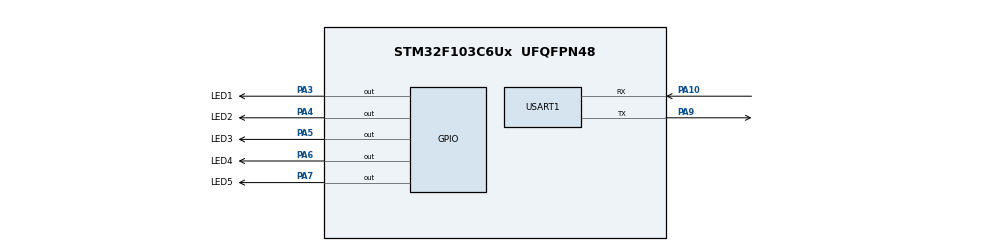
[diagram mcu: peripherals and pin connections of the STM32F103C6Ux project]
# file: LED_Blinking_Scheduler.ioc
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Mcu.Family=STM32F1
Mcu.Name=STM32F103C6Ux
Mcu.Package=UFQFPN48
NVIC.PriorityGroup=NVIC_PRIORITYGROUP_4
NVIC.TIM2_IRQn=true\:0\:0\:false\:false\:true\:true\:true
PA10.Mode=Asynchronous
PA10.Signal=USART1_RX
PA13.Mode=Serial_Wire
PA13.Signal=SYS_JTMS-SWDIO
PA14.Mode=Serial_Wire
PA14.Signal=SYS_JTCK-SWCLK
PA3.GPIO_Label=LED1
PA3.Signal=GPIO_Output
PA4.GPIO_Label=LED2
PA4.Signal=GPIO_Output
PA5.GPIO_Label=LED3
PA5.Signal=GPIO_Output
PA6.GPIO_Label=LED4
PA6.Signal=GPIO_Output
PA7.GPIO_Label=LED5
PA7.Signal=GPIO_Output
PA9.Mode=Asynchronous
PA9.Signal=USART1_TX
ProjectManager.HeapSize=0x200
ProjectManager.StackSize=0x400
ProjectManager.TargetToolchain=STM32CubeIDE
RCC.APB1Freq_Value=8000000
RCC.APB2Freq_Value=8000000
TIM2.Prescaler=7999
USART1.VirtualMode=VM_ASYNC
VP_TIM2_VS_ClockSourceINT.Mode=Internal
board=custom

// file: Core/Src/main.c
/* USER CODE BEGIN Header */
/* USER CODE END Header */
#include "main.h"

/* USER CODE BEGIN Includes */
#include "scheduler.h"
#include "Tasks.h"
#include <stdio.h>
/* USER CODE END Includes */

TIM_HandleTypeDef htim2;

UART_HandleTypeDef huart1;

void SystemClock_Config(void);
static void MX_GPIO_Init(void);
static void MX_TIM2_Init(void);
static void MX_USART1_UART_Init(void);

int main(void)
{

  /* MCU Configuration--------------------------------------------------------*/

  /* Reset of all peripherals, Initializes the Flash interface and the Systick. */
  HAL_Init();

  /* Configure the system clock */
  SystemClock_Config();

  /* Initialize all configured peripherals */
  MX_GPIO_Init();
  MX_TIM2_Init();
  MX_USART1_UART_Init();
  /* USER CODE BEGIN 2 */
   setvbuf(stdout, NULL, _IONBF, 0);
   SCH_Init();

   // 5 task LED (chu kỳ 50, 100, 150, 200, 250 tick)
   SCH_Add_Task(Task_LED1, 0, TASK_LED1_TICKS);
   SCH_Add_Task(Task_LED2, 0, TASK_LED2_TICKS);
   SCH_Add_Task(Task_LED3, 0, TASK_LED3_TICKS);
   SCH_Add_Task(Task_LED4, 0, TASK_LED4_TICKS);
   SCH_Add_Task(Task_LED5, 0, TASK_LED5_TICKS);

   // Task 10 ms in timestamp (lưu ID để xóa sau)
   Task10ms_ID = SCH_Add_Task(Task_10ms, 0, TASK_10MS_TICKS);

   // Các task one-shot (Period = 0), delay đủ dài để chạy sau khi vào vòng lặp chính
   SCH_Add_Task(Task_OneShot1, 100, 0);   // sau 1 s
   SCH_Add_Task(Task_OneShot2, 300, 0);   // sau 3 s
   SCH_Add_Task(Task_OneShot3, 400, 0);   // sau 4 s

   // Sau 2 s, một task one-shot sẽ gọi SCH_Delete_Task để xóa Task_10ms
   SCH_Add_Task(Task_Stop10ms, 200, 0);

   // Demo xóa trực tiếp từ main: thêm rồi xóa ngay
   uint32_t id_cancel = SCH_Add_Task(Task_Cancelled, 500, 0);
   SCH_Delete_Task(id_cancel);

   HAL_UART_Transmit(&huart1, (uint8_t *)"HELLO\r\n", 7, 100);
   HAL_TIM_Base_Start_IT(&htim2);
   /* USER CODE END 2 */

  /* Infinite loop */
    while (1)
    {

    /* USER CODE BEGIN 3 */
      SCH_Dispatch_Tasks();
    }
  /* USER CODE END 3 */
}

void SystemClock_Config(void)
{
  RCC_OscInitTypeDef RCC_OscInitStruct = {0};
  RCC_ClkInitTypeDef RCC_ClkInitStruct = {0};

  /** Initializes the RCC Oscillators according to the specified parameters
  * in the RCC_OscInitTypeDef structure.
  */
  RCC_OscInitStruct.OscillatorType = RCC_OSCILLATORTYPE_HSI;
  RCC_OscInitStruct.HSIState = RCC_HSI_ON;
  RCC_OscInitStruct.HSICalibrationValue = RCC_HSICALIBRATION_DEFAULT;
  RCC_OscInitStruct.PLL.PLLState = RCC_PLL_NONE;
  if (HAL_RCC_OscConfig(&RCC_OscInitStruct) != HAL_OK)
  {
    Error_Handler();
  }
  /** Initializes the CPU, AHB and APB buses clocks
  */
  RCC_ClkInitStruct.ClockType = RCC_CLOCKTYPE_HCLK|RCC_CLOCKTYPE_SYSCLK
                              |RCC_CLOCKTYPE_PCLK1|RCC_CLOCKTYPE_PCLK2;
  RCC_ClkInitStruct.SYSCLKSource = RCC_SYSCLKSOURCE_HSI;
  RCC_ClkInitStruct.AHBCLKDivider = RCC_SYSCLK_DIV1;
  RCC_ClkInitStruct.APB1CLKDivider = RCC_HCLK_DIV1;
  RCC_ClkInitStruct.APB2CLKDivider = RCC_HCLK_DIV1;

  if (HAL_RCC_ClockConfig(&RCC_ClkInitStruct, FLASH_LATENCY_0) != HAL_OK)
  {
    Error_Handler();
  }
}

static void MX_TIM2_Init(void)
{

  TIM_ClockConfigTypeDef sClockSourceConfig = {0};
  TIM_MasterConfigTypeDef sMasterConfig = {0};

  htim2.Instance = TIM2;
  htim2.Init.Prescaler = 7999;
  htim2.Init.CounterMode = TIM_COUNTERMODE_UP;
  htim2.Init.Period = 9;
  htim2.Init.ClockDivision = TIM_CLOCKDIVISION_DIV1;
  htim2.Init.AutoReloadPreload = TIM_AUTORELOAD_PRELOAD_DISABLE;
  if (HAL_TIM_Base_Init(&htim2) != HAL_OK)
  {
    Error_Handler();
  }
  sClockSourceConfig.ClockSource = TIM_CLOCKSOURCE_INTERNAL;
  if (HAL_TIM_ConfigClockSource(&htim2, &sClockSourceConfig) != HAL_OK)
  {
    Error_Handler();
  }
  sMasterConfig.MasterOutputTrigger = TIM_TRGO_RESET;
  sMasterConfig.MasterSlaveMode = TIM_MASTERSLAVEMODE_DISABLE;
  if (HAL_TIMEx_MasterConfigSynchronization(&htim2, &sMasterConfig) != HAL_OK)
  {
    Error_Handler();
  }

}

static void MX_USART1_UART_Init(void)
{

  huart1.Instance = USART1;
  huart1.Init.BaudRate = 115200;
  huart1.Init.WordLength = UART_WORDLENGTH_8B;
  huart1.Init.StopBits = UART_STOPBITS_1;
  huart1.Init.Parity = UART_PARITY_NONE;
  huart1.Init.Mode = UART_MODE_TX_RX;
  huart1.Init.HwFlowCtl = UART_HWCONTROL_NONE;
  huart1.Init.OverSampling = UART_OVERSAMPLING_16;
  if (HAL_UART_Init(&huart1) != HAL_OK)
  {
    Error_Handler();
  }

}

static void MX_GPIO_Init(void)
{
  GPIO_InitTypeDef GPIO_InitStruct = {0};

  /* GPIO Ports Clock Enable */
  __HAL_RCC_GPIOA_CLK_ENABLE();

  /*Configure GPIO pin Output Level */
  HAL_GPIO_WritePin(GPIOA, LED1_Pin|LED2_Pin|LED3_Pin|LED4_Pin
                          |LED5_Pin, GPIO_PIN_RESET);

  /*Configure GPIO pins : LED1_Pin LED2_Pin LED3_Pin LED4_Pin
                           LED5_Pin */
  GPIO_InitStruct.Pin = LED1_Pin|LED2_Pin|LED3_Pin|LED4_Pin
                          |LED5_Pin;
  GPIO_InitStruct.Mode = GPIO_MODE_OUTPUT_PP;
  GPIO_InitStruct.Pull = GPIO_NOPULL;
  GPIO_InitStruct.Speed = GPIO_SPEED_FREQ_LOW;
  HAL_GPIO_Init(GPIOA, &GPIO_InitStruct);

}

/* USER CODE BEGIN 4 */
int _write(int file, char *ptr, int len)
{
    HAL_UART_Transmit(&huart1, (uint8_t *)ptr, len, HAL_MAX_DELAY);
    return len;
}

void HAL_TIM_PeriodElapsedCallback(TIM_HandleTypeDef *htim)
{
    if (htim->Instance == TIM2) {
        SCH_Update();
    }
}
/* USER CODE END 4 */

void Error_Handler(void)
{
  __disable_irq();
  while (1)
  {
  }
}

/************************ (C) COPYRIGHT STMicroelectronics *****END OF FILE****/
